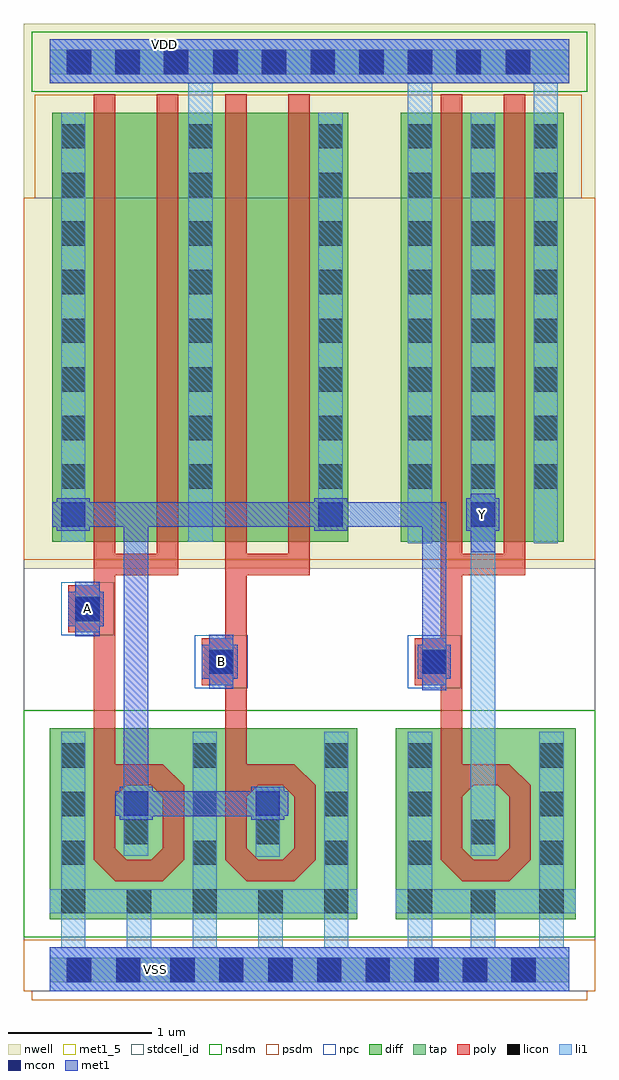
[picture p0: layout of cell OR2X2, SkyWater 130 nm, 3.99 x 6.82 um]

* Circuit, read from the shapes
.subckt OR2X2 A B VDD VSS Y
XM1 VSS A n1 VSS sky130_fd_pr__nfet_01v8 w=2.475 l=0.1489
XM2 VSS B n1 VSS sky130_fd_pr__nfet_01v8 w=2.475 l=0.1507
XM3 VSS n1 Y VSS sky130_fd_pr__nfet_01v8 w=2.475 l=0.1452
XM4 n2 A n1 VDD sky130_fd_pr__pfet_01v8 w=3 l=0.15
XM5 VDD A n2 VDD sky130_fd_pr__pfet_01v8 w=3 l=0.15
XM6 n3 B VDD VDD sky130_fd_pr__pfet_01v8 w=3 l=0.15
XM7 n1 B n3 VDD sky130_fd_pr__pfet_01v8 w=3 l=0.15
XM8 Y n1 VDD VDD sky130_fd_pr__pfet_01v8 w=3 l=0.15 m=2
.ends

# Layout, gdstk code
import gdstk
lib = gdstk.Library(unit=1e-6, precision=1e-09)
def R(c, l, rs):  # rectangles x0, y0, x1, y1
    for r in rs: c.add(gdstk.rectangle(r[:2], r[2:], *l))
def A(c, l, x, y, w, h, nx, ny, dx, dy):  # array of equal rectangles
    R(c, l, [(x+i*dx, y+j*dy, x+i*dx+w, y+j*dy+h) for i in range(nx) for j in range(ny)])
def P(c, l, *ps):  # polygons
    for p in ps: c.add(gdstk.Polygon(p, *l))
nwell = (64, 20)
diff = (65, 20)
tap = (65, 44)
poly = (66, 20)
licon = (66, 44)
li1 = (67, 20)
mcon = (67, 44)
met1_5 = (68, 5)
met1 = (68, 20)
stdcell_id = (81, 4)
nsdm = (93, 44)
psdm = (94, 20)
npc = (95, 20)

or2x2 = lib.new_cell('OR2X2')
R(or2x2, nwell, [(0,2.955,3.995,6.765)])
R(or2x2, diff, [(0.18,0.505,2.33,1.84), (2.6,0.505,3.86,1.84), (0.2,3.145,2.27,6.145), (2.635,3.145,3.775,6.145)])
R(or2x2, tap, [(0.18,0.065,3.815,0.235), (0.18,6.415,3.815,6.585)])
R(or2x2, poly, [(0.64,0.77,0.97,0.92), (1.56,0.77,1.89,0.92), (3.065,0.77,3.395,0.92), (0.49,0.92,0.64,1.44), (0.97,0.92,1.12,1.44), (1.41,0.92,1.56,1.44), (1.89,0.92,2.04,1.44), (2.915,0.92,3.065,1.44), (3.395,0.92,3.545,1.44), (0.49,1.44,0.97,1.59), (1.41,1.44,1.89,1.59), (2.915,1.44,3.395,1.59), (0.49,1.59,0.64,2.51), (1.41,1.59,1.56,2.14), (2.915,1.59,3.065,2.14), (1.245,2.14,1.56,2.47), (2.735,2.14,3.065,2.47), (1.41,2.47,1.56,2.91), (2.915,2.47,3.065,2.91), (0.31,2.51,0.64,2.84), (0.49,2.84,0.64,2.91), (0.49,2.91,1.08,3.06), (1.41,2.91,2,3.06), (2.915,2.91,3.505,3.06), (0.49,3.06,0.64,6.275), (0.93,3.06,1.08,6.275), (1.41,3.06,1.56,6.275), (1.85,3.06,2,6.275), (2.915,3.06,3.065,6.275), (3.355,3.06,3.505,6.275)])
P(or2x2, poly, [(0.97,1.59),(0.97,1.44),(1.12,1.44)],
  [(0.64,1.36),(0.64,1.44),(0.72,1.44)],
  [(0.89,1.44),(0.97,1.44),(0.97,1.36)],
  [(0.64,1),(0.64,0.92),(0.72,0.92)],
  [(0.89,0.92),(0.97,0.92),(0.97,1)],
  [(0.49,0.92),(0.64,0.92),(0.64,0.77)],
  [(0.97,0.77),(0.97,0.92),(1.12,0.92)],
  [(1.89,1.59),(1.89,1.44),(2.04,1.44)],
  [(1.56,1.36),(1.56,1.44),(1.64,1.44)],
  [(1.81,1.44),(1.89,1.44),(1.89,1.36)],
  [(1.56,1),(1.56,0.92),(1.64,0.92)],
  [(1.81,0.92),(1.89,0.92),(1.89,1)],
  [(1.41,0.92),(1.56,0.92),(1.56,0.77)],
  [(1.89,0.77),(1.89,0.92),(2.04,0.92)],
  [(3.395,1.59),(3.395,1.44),(3.545,1.44)],
  [(3.065,1.36),(3.065,1.44),(3.145,1.44)],
  [(3.315,1.44),(3.395,1.44),(3.395,1.36)],
  [(3.065,1),(3.065,0.92),(3.145,0.92)],
  [(3.315,0.92),(3.395,0.92),(3.395,1)],
  [(2.915,0.92),(3.065,0.92),(3.065,0.77)],
  [(3.395,0.77),(3.395,0.92),(3.545,0.92)])
A(or2x2, licon, 1.71, 0.065, 0.17, 0.17, 6, 1, 0.34, 0)
A(or2x2, licon, 0.26, 0.545, 0.17, 0.17, 5, 1, 0.46, 0)
A(or2x2, licon, 2.685, 0.545, 0.17, 0.17, 1, 4, 0, 0.34)
A(or2x2, licon, 3.605, 0.545, 0.17, 0.17, 1, 4, 0, 0.34)
A(or2x2, licon, 0.26, 0.885, 0.17, 0.17, 3, 3, 0.92, 0.34)
A(or2x2, licon, 0.26, 3.515, 0.17, 0.17, 1, 8, 0, 0.34)
A(or2x2, licon, 1.15, 3.515, 0.17, 0.17, 1, 8, 0, 0.34)
A(or2x2, licon, 2.06, 3.515, 0.17, 0.17, 1, 8, 0, 0.34)
A(or2x2, licon, 2.685, 3.515, 0.17, 0.17, 3, 8, 0.44, 0.34)
A(or2x2, licon, 0.3, 6.415, 0.17, 0.17, 3, 1, 0.34, 0)
A(or2x2, licon, 1.325, 6.415, 0.17, 0.17, 6, 1, 0.34, 0)
R(or2x2, licon, [(0.3,0.065,0.47,0.235), (0.645,0.065,0.815,0.235), (1.025,0.065,1.195,0.235), (1.365,0.065,1.535,0.235), (3.125,0.545,3.295,0.715), (0.7,1.03,0.87,1.2), (1.62,1.03,1.79,1.2), (3.125,1.03,3.295,1.2), (1.295,2.22,1.465,2.39), (2.785,2.22,2.955,2.39), (0.36,2.59,0.53,2.76), (3.37,6.415,3.54,6.585)])
A(or2x2, li1, 0.26, 0.31, 0.17, 0.235, 5, 1, 0.46, 0)
A(or2x2, li1, 0.26, 0.715, 0.17, 1.1, 3, 1, 0.92, 0)
R(or2x2, li1, [(0.18,0,3.815,0.31), (2.685,0.31,2.855,0.545), (3.125,0.31,3.295,0.545), (3.605,0.31,3.775,0.545), (0.18,0.545,2.33,0.715), (2.6,0.545,3.86,0.715), (2.685,0.715,2.855,1.815), (3.605,0.715,3.775,1.815), (1.62,0.94,1.79,1.43), (0.7,0.95,0.87,1.4), (3.125,0.95,3.295,6.145), (1.295,2.14,1.465,2.47), (2.785,2.14,2.955,2.47), (0.36,2.51,0.53,2.84), (2.685,3.135,2.855,6.35), (3.565,3.135,3.735,6.35), (0.26,3.145,0.43,6.145), (1.15,3.145,1.32,6.35), (2.06,3.25,2.23,6.145), (0.18,6.35,3.815,6.66)])
A(or2x2, mcon, 1.71, 0.065, 0.17, 0.17, 6, 1, 0.34, 0)
A(or2x2, mcon, 0.3, 6.415, 0.17, 0.17, 3, 1, 0.34, 0)
A(or2x2, mcon, 1.325, 6.415, 0.17, 0.17, 6, 1, 0.34, 0)
R(or2x2, mcon, [(0.3,0.065,0.47,0.235), (0.645,0.065,0.815,0.235), (1.025,0.065,1.195,0.235), (1.365,0.065,1.535,0.235), (0.7,1.23,0.87,1.4), (1.62,1.23,1.79,1.4), (1.295,2.22,1.465,2.39), (2.785,2.22,2.955,2.39), (0.36,2.59,0.53,2.76), (0.26,3.25,0.43,3.42), (2.06,3.25,2.23,3.42), (3.125,3.25,3.295,3.42), (3.37,6.415,3.54,6.585)])
R(or2x2, met1_5, [(1.295,2.22,1.465,2.39), (0.36,2.59,0.53,2.76), (3.125,3.25,3.295,3.42)])
R(or2x2, met1, [(0.18,0,3.815,0.31), (0.67,1.2,0.9,1.225), (1.59,1.2,1.82,1.225), (0.67,1.225,1.82,1.23), (0.64,1.23,1.85,1.4), (0.67,1.4,0.9,1.43), (1.59,1.4,1.82,1.43), (0.7,1.43,0.87,3.25), (2.785,2.105,2.955,2.185), (1.295,2.115,1.465,2.185), (1.245,2.185,1.495,2.425), (2.755,2.185,2.985,2.425), (1.295,2.425,1.465,2.495), (2.785,2.425,2.955,3.25), (0.36,2.485,0.53,2.555), (0.31,2.555,0.56,2.795), (0.36,2.795,0.53,2.865), (3.125,3.07,3.295,3.22), (0.23,3.22,0.46,3.25), (2.03,3.22,2.26,3.25), (3.095,3.22,3.325,3.45), (0.2,3.25,2.955,3.42), (0.23,3.42,0.46,3.45), (2.03,3.42,2.26,3.45), (3.125,3.45,3.295,3.48), (0.18,6.35,3.815,6.66)])
R(or2x2, stdcell_id, [(0,0,3.995,5.55)])
R(or2x2, nsdm, [(0,0.38,3.995,1.965), (0.055,6.29,3.94,6.71)])
R(or2x2, psdm, [(0.055,-0.06,3.94,0), (0,0,3.995,0.36), (0,3.02,3.995,5.55), (0.075,5.55,3.9,6.27)])
R(or2x2, npc, [(1.195,2.12,1.565,2.49), (2.685,2.12,3.055,2.49), (0.26,2.49,0.63,2.86)])
or2x2.add(gdstk.Label('VDD', (0.985,6.625), layer=68, texttype=5))
or2x2.add(gdstk.Label('VSS', (0.92,0.155), layer=68, texttype=5))
or2x2.add(gdstk.Label('A', (0.445,2.675), layer=68, texttype=5))
or2x2.add(gdstk.Label('B', (1.38,2.305), layer=68, texttype=5))
or2x2.add(gdstk.Label('Y', (3.21,3.335), layer=68, texttype=5))

lib.write_gds('OR2X2.gds')
